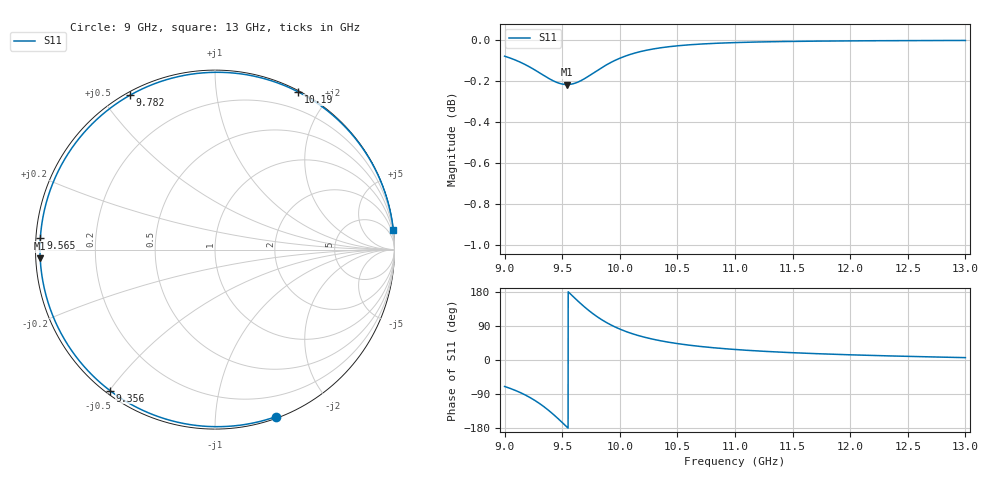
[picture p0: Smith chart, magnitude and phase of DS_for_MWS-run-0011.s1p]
! TOUCHSTONE file generated by CST DESIGN STUDIO
! Date and time: Tue Feb  4 13:01:09 2025
! Project name: C:\Work\MatlabApps\UnitCellOptimizationMatlab\CST\unitcell.cst
! Tree item: Tasks\Sweep1\SPara1\S-Parameters
! Header version: 2024
! Port assignment regex: !\s*Touchstone port\s*([0-9]+)\s*=\s*(CST MWS port|CST DES external port|CST DES block port)\s*(.+)\s* \(\"(.*)\"\)(\s*mode\s*([0-9]+))?.*
! Touchstone port assignment:
! Touchstone port 1 = CST DES external port 1 ("")
# GHz S MA R 50
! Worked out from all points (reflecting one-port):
!   4001 points, 9 GHz to 13 GHz, reference 50 ohm
!   lowest |S11| = -0.2 dB at 9.542 GHz (marker M1), VSWR 79.49, Z = 0.629 - j1.24 ohm
!   phase of S11 starts at -70 deg and turns -284 deg over the sweep
!   S11 on the Smith chart (normalised r, x): 9 GHz: 0.01, -1.43; 9.356 GHz: 0.01, -0.50; 9.565 GHz: 0.01, +0.03; 9.782 GHz: 0.01, +0.59; 10.19 GHz: 0.01, +1.65; 13 GHz: 0, +18
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9  0.9908 -69.8
9.101  0.9884 -81.3
9.211  0.985 -97.5
9.287  0.9822 -111.5
9.356  0.9795 -126.6
9.425  0.9771 -144.0
9.464  0.9761 -154.6
9.5  0.9754 -164.9
9.542  0.9752 -177.2
9.565  0.9752 176.1
9.62  0.9761 160.1
9.68  0.9779 143.6
9.731  0.9798 130.6
9.782  0.9819 118.8
9.829  0.9839 109.0
9.879  0.9858 99.8
9.935  0.9877 90.7
10  0.9896 81.6
10.09  0.9917 71.3
10.187  0.9934 62.3
10.33  0.9952 52.2
10.5  0.9965 43.3
10.721  0.9976 35.0
11  0.9983 27.7
11.5  0.999 19.3
12  0.9993 13.7
12.5  0.9994 9.6
13  0.9995 6.3
